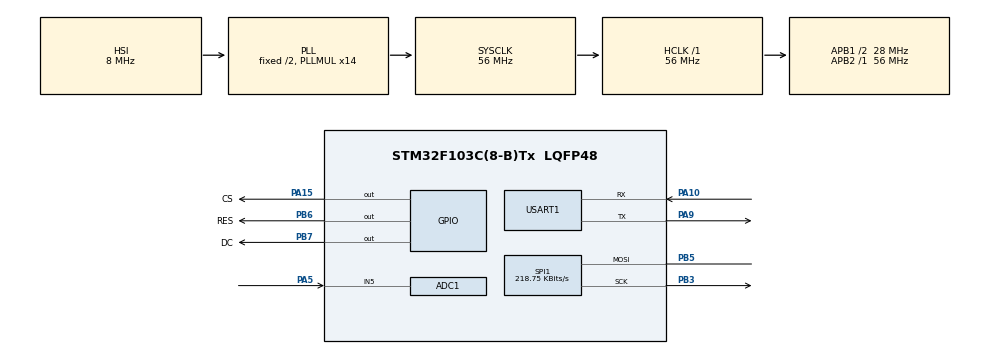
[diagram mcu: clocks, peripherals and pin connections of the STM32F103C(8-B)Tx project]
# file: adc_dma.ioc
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ADC1.Channel-0\#ChannelRegularConversion=ADC_CHANNEL_5
ADC1.ContinuousConvMode=ENABLE
ADC1.DataAlign=ADC_DATAALIGN_RIGHT
ADC1.DiscontinuousConvMode=DISABLE
ADC1.EnableAnalogWatchDog=false
ADC1.EnableRegularConversion=ENABLE
ADC1.ExternalTrigConv=ADC_SOFTWARE_START
ADC1.InjNumberOfConversion=0
ADC1.NbrOfConversion=1
ADC1.NbrOfConversionFlag=1
ADC1.Rank-0\#ChannelRegularConversion=1
ADC1.SamplingTime-0\#ChannelRegularConversion=ADC_SAMPLETIME_1CYCLE_5
ADC1.ScanConvMode=ADC_SCAN_DISABLE
ADC1.master=1
Dma.ADC1.0.Direction=DMA_PERIPH_TO_MEMORY
Dma.ADC1.0.Instance=DMA1_Channel1
Dma.ADC1.0.MemDataAlignment=DMA_MDATAALIGN_HALFWORD
Dma.ADC1.0.MemInc=DMA_MINC_ENABLE
Dma.ADC1.0.Mode=DMA_CIRCULAR
Dma.ADC1.0.PeriphDataAlignment=DMA_PDATAALIGN_HALFWORD
Dma.ADC1.0.PeriphInc=DMA_PINC_DISABLE
Dma.ADC1.0.Priority=DMA_PRIORITY_VERY_HIGH
Dma.Request0=ADC1
Mcu.Family=STM32F1
Mcu.Name=STM32F103C(8-B)Tx
Mcu.Package=LQFP48
NVIC.DMA1_Channel1_IRQn=true\:0\:0\:false\:false\:true\:false
NVIC.PriorityGroup=NVIC_PRIORITYGROUP_4
PA10.Mode=Asynchronous
PA10.Signal=USART1_RX
PA13.Mode=Serial_Wire
PA13.Signal=SYS_JTMS-SWDIO
PA14.Mode=Serial_Wire
PA14.Signal=SYS_JTCK-SWCLK
PA15.GPIO_Label=CS
PA15.GPIO_Speed=GPIO_SPEED_FREQ_HIGH
PA15.Signal=GPIO_Output
PA5.Signal=ADCx_IN5
PA9.Mode=Asynchronous
PA9.Signal=USART1_TX
PB3.Mode=Simplex_Bidirectional_Master
PB3.Signal=SPI1_SCK
PB5.Mode=Simplex_Bidirectional_Master
PB5.Signal=SPI1_MOSI
PB6.GPIO_Label=RES
PB6.GPIO_ModeDefaultOutputPP=GPIO_MODE_OUTPUT_PP
PB6.GPIO_Speed=GPIO_SPEED_FREQ_HIGH
PB6.PinState=GPIO_PIN_RESET
PB6.Signal=GPIO_Output
PB7.GPIO_Label=DC
PB7.GPIO_Speed=GPIO_SPEED_FREQ_HIGH
PB7.PinState=GPIO_PIN_RESET
PB7.Signal=GPIO_Output
PD0-OSC_IN.Mode=HSE-External-Oscillator
PD0-OSC_IN.Signal=RCC_OSC_IN
PD1-OSC_OUT.Mode=HSE-External-Oscillator
PD1-OSC_OUT.Signal=RCC_OSC_OUT
ProjectManager.HeapSize=0x200
ProjectManager.StackSize=0x400
ProjectManager.TargetToolchain=MDK-ARM V5
RCC.ADCPresc=RCC_ADCPCLK2_DIV4
RCC.AHBFreq_Value=56000000
RCC.APB1CLKDivider=RCC_HCLK_DIV2
RCC.APB1Freq_Value=28000000
RCC.APB1TimFreq_Value=56000000
RCC.APB2Freq_Value=56000000
RCC.APB2TimFreq_Value=56000000
RCC.HCLKFreq_Value=56000000
RCC.PLLMUL=RCC_PLL_MUL14
RCC.SYSCLKFreq_VALUE=56000000
RCC.SYSCLKSource=RCC_SYSCLKSOURCE_PLLCLK
RCC.USBFreq_Value=56000000
SH.ADCx_IN5.0=ADC1_IN5,IN5
SPI1.BaudRatePrescaler=SPI_BAUDRATEPRESCALER_256
SPI1.CLKPolarity=SPI_POLARITY_HIGH
SPI1.CalculateBaudRate=218.75 KBits/s
SPI1.Direction=SPI_DIRECTION_1LINE
SPI1.FirstBit=SPI_FIRSTBIT_MSB
SPI1.Mode=SPI_MODE_MASTER
SPI1.VirtualType=VM_MASTER
USART1.VirtualMode=VM_ASYNC
board=custom

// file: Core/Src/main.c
/* USER CODE BEGIN Header */
/**
  ******************************************************************************
  * @file           : main.c
  * @brief          : Main program body
  ******************************************************************************
  ** This notice applies to any and all portions of this file
  * that are not between comment pairs USER CODE BEGIN and
  * USER CODE END. Other portions of this file, whether
  * inserted by the user or by software development tools
  * are owned by their respective copyright owners.
  *
  * COPYRIGHT(c) 2018 STMicroelectronics
  *
  * Redistribution and use in source and binary forms, with or without modification,
  * are permitted provided that the following conditions are met:
  *   1. Redistributions of source code must retain the above copyright notice,
  *      this list of conditions and the following disclaimer.
  *   2. Redistributions in binary form must reproduce the above copyright notice,
  *      this list of conditions and the following disclaimer in the documentation
  *      and/or other materials provided with the distribution.
  *   3. Neither the name of STMicroelectronics nor the names of its contributors
  *      may be used to endorse or promote products derived from this software
  *      without specific prior written permission.
  *
  * THIS SOFTWARE IS PROVIDED BY THE COPYRIGHT HOLDERS AND CONTRIBUTORS "AS IS"
  * AND ANY EXPRESS OR IMPLIED WARRANTIES, INCLUDING, BUT NOT LIMITED TO, THE
  * IMPLIED WARRANTIES OF MERCHANTABILITY AND FITNESS FOR A PARTICULAR PURPOSE ARE
  * DISCLAIMED. IN NO EVENT SHALL THE COPYRIGHT HOLDER OR CONTRIBUTORS BE LIABLE
  * FOR ANY DIRECT, INDIRECT, INCIDENTAL, SPECIAL, EXEMPLARY, OR CONSEQUENTIAL
  * DAMAGES (INCLUDING, BUT NOT LIMITED TO, PROCUREMENT OF SUBSTITUTE GOODS OR
  * SERVICES; LOSS OF USE, DATA, OR PROFITS; OR BUSINESS INTERRUPTION) HOWEVER
  * CAUSED AND ON ANY THEORY OF LIABILITY, WHETHER IN CONTRACT, STRICT LIABILITY,
  * OR TORT (INCLUDING NEGLIGENCE OR OTHERWISE) ARISING IN ANY WAY OUT OF THE USE
  * OF THIS SOFTWARE, EVEN IF ADVISED OF THE POSSIBILITY OF SUCH DAMAGE.
  *
  ******************************************************************************
  */
/* USER CODE END Header */

#include "main.h"
#include "adc.h"
#include "dma.h"
#include "spi.h"
#include "usart.h"
#include "gpio.h"

/* USER CODE BEGIN Includes */
#include "oled.h"
/* USER CODE END Includes */

/* USER CODE BEGIN PV */
/* Private variables ---------------------------------------------------------*/
  uint8_t t;
/* USER CODE END PV */

void SystemClock_Config(void);
/* USER CODE BEGIN PFP */
/* Private function prototypes -----------------------------------------------*/

/* USER CODE END PFP */

int main(void)
{

  /* MCU Configuration--------------------------------------------------------*/

  /* Reset of all peripherals, Initializes the Flash interface and the Systick. */
  HAL_Init();

  /* Configure the system clock */
  SystemClock_Config();

  /* Initialize all configured peripherals */
  MX_GPIO_Init();
  MX_DMA_Init();
  MX_ADC1_Init();
  MX_USART1_UART_Init();
  MX_SPI1_Init();
  /* USER CODE BEGIN 2 */
  OLED_Init();			//???OLED
  OLED_Clear();
  OLED_Clear();
		OLED_ShowCHinese(0,0,0);//?
		OLED_ShowCHinese(18,0,1);//?
		OLED_ShowCHinese(36,0,2);//?
		OLED_ShowCHinese(54,0,3);//?
		OLED_ShowCHinese(72,0,4);//?
		OLED_ShowCHinese(90,0,5);//?
		OLED_ShowCHinese(108,0,6);//?
		OLED_ShowString(0,2,"1.3' OLED TEST");
	//	OLED_ShowString(8,2,"ZHONGJINGYUAN");
	 	OLED_ShowString(20,4,"2014/05/01");
		OLED_ShowString(0,6,"ASCII:");
		OLED_ShowString(63,6,"CODE:");
		OLED_ShowChar(48,6,t);//??ASCII??
		t++;
		if(t>'~')t=' ';
		OLED_ShowNum(103,6,t,3,16);//??ASCII?????
  /* USER CODE END 2 */

  /* Infinite loop */
  while (1)
  {

  }
}

void SystemClock_Config(void)
{
  RCC_OscInitTypeDef RCC_OscInitStruct = {0};
  RCC_ClkInitTypeDef RCC_ClkInitStruct = {0};
  RCC_PeriphCLKInitTypeDef PeriphClkInit = {0};

  /**Initializes the CPU, AHB and APB busses clocks
  */
  RCC_OscInitStruct.OscillatorType = RCC_OSCILLATORTYPE_HSI;
  RCC_OscInitStruct.HSIState = RCC_HSI_ON;
  RCC_OscInitStruct.HSICalibrationValue = RCC_HSICALIBRATION_DEFAULT;
  RCC_OscInitStruct.PLL.PLLState = RCC_PLL_ON;
  RCC_OscInitStruct.PLL.PLLSource = RCC_PLLSOURCE_HSI_DIV2;
  RCC_OscInitStruct.PLL.PLLMUL = RCC_PLL_MUL14;
  if (HAL_RCC_OscConfig(&RCC_OscInitStruct) != HAL_OK)
  {
    Error_Handler();
  }
  /**Initializes the CPU, AHB and APB busses clocks
  */
  RCC_ClkInitStruct.ClockType = RCC_CLOCKTYPE_HCLK|RCC_CLOCKTYPE_SYSCLK
                              |RCC_CLOCKTYPE_PCLK1|RCC_CLOCKTYPE_PCLK2;
  RCC_ClkInitStruct.SYSCLKSource = RCC_SYSCLKSOURCE_PLLCLK;
  RCC_ClkInitStruct.AHBCLKDivider = RCC_SYSCLK_DIV1;
  RCC_ClkInitStruct.APB1CLKDivider = RCC_HCLK_DIV2;
  RCC_ClkInitStruct.APB2CLKDivider = RCC_HCLK_DIV1;

  if (HAL_RCC_ClockConfig(&RCC_ClkInitStruct, FLASH_LATENCY_2) != HAL_OK)
  {
    Error_Handler();
  }
  PeriphClkInit.PeriphClockSelection = RCC_PERIPHCLK_ADC;
  PeriphClkInit.AdcClockSelection = RCC_ADCPCLK2_DIV4;
  if (HAL_RCCEx_PeriphCLKConfig(&PeriphClkInit) != HAL_OK)
  {
    Error_Handler();
  }
}

void Error_Handler(void)
{
  while(1)
  {
  }
}

/************************ (C) COPYRIGHT STMicroelectronics *****END OF FILE****/
